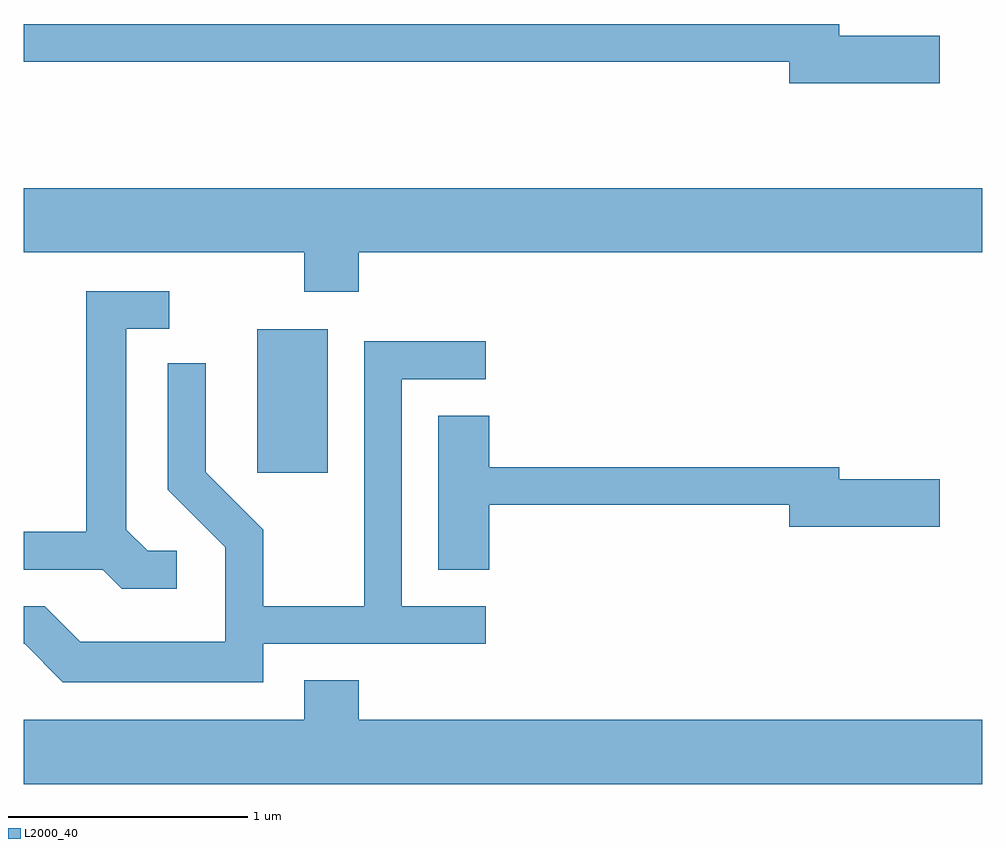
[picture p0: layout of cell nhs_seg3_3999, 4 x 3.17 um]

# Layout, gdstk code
import gdstk
lib = gdstk.Library(unit=1e-6, precision=1e-09)
def R(c, l, rs):  # rectangles x0, y0, x1, y1
    for r in rs: c.add(gdstk.rectangle(r[:2], r[2:], *l))
def P(c, l, *ps):  # polygons
    for p in ps: c.add(gdstk.Polygon(p, *l))
L2000_40 = (2000, 40)

nhs_seg3_3999 = lib.new_cell('nhs_seg3_3999')
R(nhs_seg3_3999, L2000_40, [(302.586,1227.216,302.879,1227.814)])
P(nhs_seg3_3999, L2000_40, [(305.434,1229.039),(305.014,1229.039),(305.014,1229.089),(301.611,1229.089),(301.611,1228.931),(304.806,1228.931),(304.806,1228.841),(305.434,1228.841)],
  [(303.009,1228.136),(305.611,1228.136),(305.611,1228.404),(301.611,1228.404),(301.611,1228.136),(302.781,1228.136),(302.781,1227.971),(303.009,1227.971)],
  [(302.248,1226.889),(302.127,1226.889),(302.039,1226.977),(302.039,1227.816),(302.218,1227.816),(302.218,1227.974),(301.871,1227.974),(301.871,1226.969),(301.611,1226.969),(301.611,1226.811),(301.939,1226.811),(302.019,1226.731),(302.248,1226.731)],
  [(302.609,1226.501),(303.538,1226.501),(303.538,1226.659),(303.189,1226.659),(303.189,1227.606),(303.538,1227.606),(303.538,1227.764),(303.031,1227.764),(303.031,1226.659),(302.609,1226.659),(302.609,1226.977),(302.369,1227.217),(302.369,1227.673),(302.211,1227.673),(302.211,1227.144),(302.451,1226.904),(302.451,1226.509),(301.847,1226.509),(301.697,1226.659),(301.611,1226.659),(301.611,1226.501),(301.614,1226.501),(301.774,1226.341),(302.609,1226.341)],
  [(303.554,1227.081),(304.806,1227.081),(304.806,1226.991),(305.434,1226.991),(305.434,1227.189),(305.014,1227.189),(305.014,1227.239),(303.554,1227.239),(303.554,1227.454),(303.341,1227.454),(303.341,1226.811),(303.554,1226.811)],
  [(305.611,1226.184),(303.009,1226.184),(303.009,1226.349),(302.781,1226.349),(302.781,1226.184),(301.611,1226.184),(301.611,1225.916),(305.611,1225.916)])

lib.write_gds('nhs_seg3_3999.gds')
